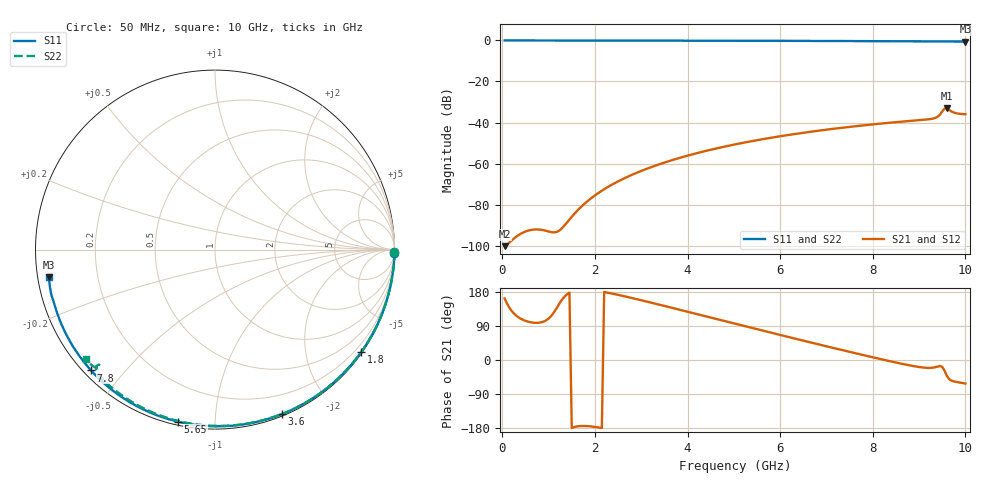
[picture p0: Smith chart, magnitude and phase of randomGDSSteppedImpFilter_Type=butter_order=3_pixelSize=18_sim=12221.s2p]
! freq	dB(S11)	phase(S11)	dB(S12)	phase(S12)
!  dB(S21)	phase(S21)	dB(S22)	phase(S22)
!S-par simulation data
#  GHz  S  DB  R 50
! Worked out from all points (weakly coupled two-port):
!   200 points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, 50 MHz to 10 GHz, reference 50 ohm
!   highest |S21| = -33.08 dB at 9.6 GHz (marker M1); lowest = -100.3 dB at 50 MHz (marker M2)
!   lowest |S11| = -0.5 dB at 10 GHz (marker M3), VSWR 31.79, Z = 1.58 - j4.16 ohm
!   |S11| at or under -10 dB: nowhere
!   |S22| runs from -0.8 to 0.0 dB; largest |S21 - S12| = 0
!   S11 on the Smith chart (normalised r, x): 50 MHz: open; 1.8 GHz: 0.03, -3.18; 3.6 GHz: 0.02, -1.49; 5.65 GHz: 0.02, -0.81; 7.8 GHz: 0.02, -0.41; 10 GHz: 0.03, -0.08
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0.05  -0.00 -1.0  -100.26 162.4  -100.26 162.4  -0.00 -0.8
0.85  -0.02 -16.7  -92.31 99.7  -92.31 99.7  -0.02 -13.8
1.75  -0.04 -34.0  -80.09 -174.1  -80.09 -174.1  -0.04 -28.0
1.8  -0.04 -34.9  -79.09 -174.2  -79.09 -174.2  -0.04 -28.8
2.1  -0.05 -40.5  -73.96 -178.4  -73.96 -178.4  -0.04 -33.5
2.45  -0.06 -47.1  -69.28 173.2  -69.28 173.2  -0.05 -38.9
2.9  -0.07 -55.3  -64.51 160.6  -64.51 160.6  -0.06 -45.8
3.4  -0.09 -64.3  -60.27 145.7  -60.27 145.7  -0.07 -53.3
3.6  -0.09 -67.8  -58.80 139.7  -58.80 139.7  -0.08 -56.3
4.3  -0.11 -79.9  -54.37 118.2  -54.37 118.2  -0.09 -66.4
5.05  -0.14 -92.4  -50.55 95.1  -50.55 95.1  -0.12 -77.0
5.65  -0.17 -102.2  -48.00 76.7  -48.00 76.7  -0.14 -85.2
6.7  -0.23 -118.7  -44.37 45.0  -44.37 45.0  -0.19 -99.1
7.8  -0.32 -135.7  -41.38 12.8  -41.38 12.8  -0.26 -113.2
8.35  -0.37 -144.2  -40.13 -2.6  -40.13 -2.6  -0.31 -120.1
9.3  -0.47 -159.0  -38.08 -20.2  -38.08 -20.2  -0.42 -132.4
9.4  -0.49 -160.6  -37.19 -17.3  -37.19 -17.3  -0.48 -134.0
9.45  -0.49 -161.3  -36.20 -15.9  -36.20 -15.9  -0.54 -134.9
9.55  -0.49 -162.9  -33.16 -28.2  -33.16 -28.2  -0.83 -135.3
9.6  -0.49 -163.7  -33.08 -42.0  -33.08 -42.0  -0.79 -134.5
9.75  -0.50 -166.3  -35.12 -56.5  -35.12 -56.5  -0.55 -136.1
10  -0.55 -170.5  -35.95 -62.1  -35.95 -62.1  -0.51 -139.6
